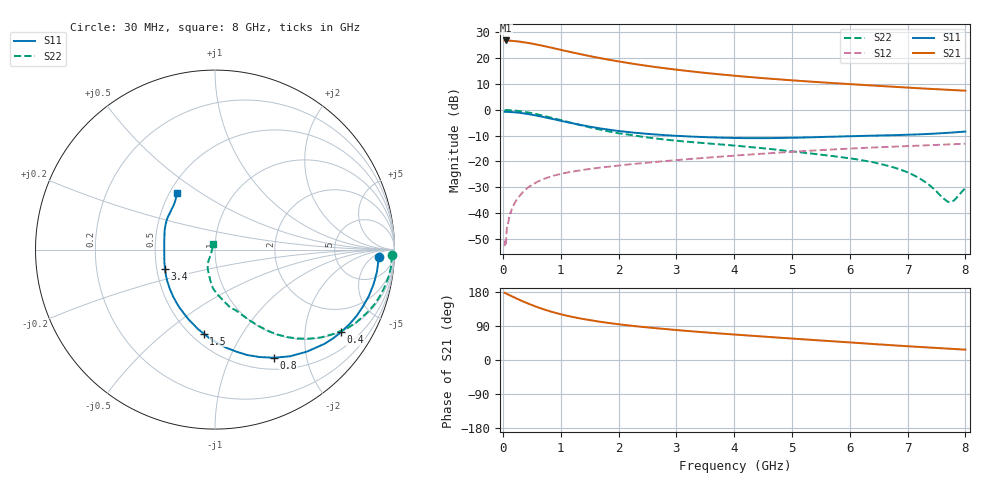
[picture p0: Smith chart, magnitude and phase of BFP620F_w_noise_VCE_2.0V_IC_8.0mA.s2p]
! Infineon Technologies  Discrete & RF Semiconductors
! BFP620F
! VCE =  2.0 V,  IC =  8.0 mA
! Common Emitter S-Parameters:  Dec 2014
# GHz  S  MA  R  50
!  f  S11  S21  S12  S22
! GHz  MAG  ANG  MAG  ANG  MAG  ANG  MAG  ANG
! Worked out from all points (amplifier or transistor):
!   95 points, 30 MHz to 8 GHz, reference 50 ohm
!   highest |S21| = 26.8 dB at 60 MHz (marker M1)
!   |S21| within 3 dB of that: start of sweep to 878.1 MHz
!   unconditionally stable (mu >= 1): 4.29 GHz to end of sweep
!   at 300 MHz: K = 0.15, MSG = 29.7 dB, |S12| = -33.0 dB
!   at 3.3 GHz: K = 0.93, MSG = 16.8 dB, |S12| = -18.9 dB
!   at 8 GHz: K = 1.10, MAG = 8.4 dB, |S12| = -13.1 dB
!   lowest NFmin = 0.56 dB at 450 MHz
!   S11 on the Smith chart (normalised r, x): 30 MHz: 18, -9; 400 MHz: 0.98, -3.06; 800 MHz: 0.65, -1.48; 1.5 GHz: 0.58, -0.69; 3.4 GHz: 0.55, -0.13; 8 GHz: 0.55, +0.40
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0.03  0.9145 -2.5  21.91 177.2  0.0023 70.2  0.9869 -1.9
0.06  0.9114 -5.1  21.95 175.3  0.0036 80.6  0.9855 -3.7
0.15  0.9029 -12.9  21.62 168.6  0.0117 82.2  0.9763 -9.6
0.25  0.8826 -21.2  21.1 161.3  0.019 77.9  0.9544 -15.9
0.4  0.8393 -33.3  19.97 151.3  0.029 72.9  0.9016 -24.7
0.5  0.8044 -40.8  19.11 145.1  0.0349 69.1  0.8616 -30.2
0.6  0.7645 -48.1  18.16 139.3  0.0407 66.4  0.814 -35.1
0.8  0.6868 -61.3  16.26 129.2  0.05 60.9  0.721 -43.5
0.9  0.6492 -67.3  15.35 124.8  0.0539 58.7  0.6753 -47.2
1.1  0.5795 -78.4  13.65 117.1  0.0606 55.4  0.5909 -53.4
1.4  0.4969 -93.2  11.55 107.9  0.0691 52.3  0.4885 -60.4
1.5  0.4724 -97.6  10.96 105.3  0.0716 51.5  0.4583 -62.4
1.7  0.433 -106.2  9.909 100.5  0.0765 50.2  0.4084 -66.2
2  0.3892 -117.9  8.636 94.4  0.0832 49.1  0.3517 -71.8
2.3  0.3581 -128.5  7.622 89.1  0.0904 47.7  0.3143 -77.3
2.7  0.3299 -140.7  6.588 83.2  0.0994 46.7  0.2738 -82.7
3.4  0.2988 -158.9  5.318 74.1  0.1154 44.7  0.2305 -90.3
4.1  0.2843 -174.1  4.465 66.2  0.132 42.3  0.1989 -95.1
5.4  0.2952 162.5  3.465 52.5  0.1635 36.8  0.14 -104.5
6.7  0.322 142.5  2.815 39.3  0.1924 29.7  0.0802 -118.7
7.7  0.3589 127.4  2.437 30.0  0.2137 24.6  0.0165 178.0
8  0.3797 124.0  2.344 27.3  0.2205 22.7  0.0311 110.4
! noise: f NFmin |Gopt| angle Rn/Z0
0.45  0.56  0.34  9  0.24
0.9  0.63  0.3  19  0.21
1.5  0.69  0.28  22  0.17
1.8  0.72  0.26  25  0.16
1.9  0.73  0.21  39  0.18
2.4  0.78  0.19  54  0.16
3.5  0.89  0.18  74  0.13
5.5  1.07  0.13  168  0.11
6  1.11  0.1  192  0.19
